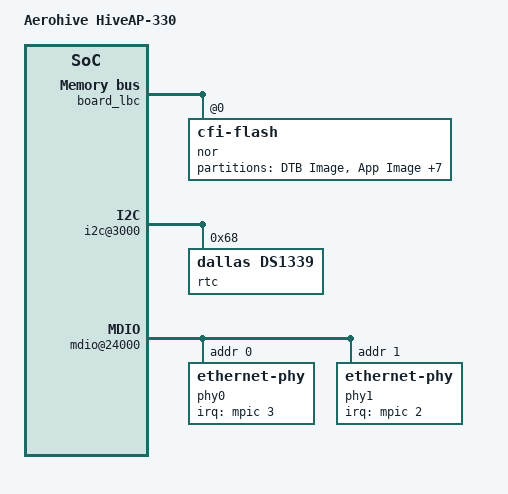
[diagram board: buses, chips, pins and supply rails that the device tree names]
/*
 * Aerohive HiveAP 330 Device Tree Source
 *
 * Copyright (C) 2017 Chris Blake <chrisrblake93@gmail.com>
 *
 * This program is free software; you can redistribute  it and/or modify it
 * under  the terms of  the GNU General  Public License as published by the
 * Free Software Foundation;  either version 2 of the  License, or (at your
 * option) any later version.
 */

/include/ "p1020si-pre.dtsi"
/ {
	model = "Aerohive HiveAP-330";
	compatible = "aerohive,hiveap330", "fsl,P1020RDB";

	memory {
		device_type = "memory";
	};

	board_lbc: lbc: localbus@ffe05000 {
		reg = <0 0xffe05000 0 0x1000>;
		ranges = <0x0 0x0 0x0 0xec000000 0x4000000>;
	};

	board_soc: soc: soc@ffe00000 {
		ranges = <0x0 0x0 0xffe00000 0x100000>;
	};

	pci0: pcie@ffe09000 {
		reg = <0 0xffe09000 0 0x1000>;
		ranges = <0x2000000 0x0 0xa0000000 0 0xa0000000 0x0 0x20000000
			  0x1000000 0x0 0x00000000 0 0xffc10000 0x0 0x10000>;
		pcie@0 {
			ranges = <0x2000000 0x0 0xa0000000
				  0x2000000 0x0 0xa0000000
				  0x0 0x20000000

				  0x1000000 0x0 0x0
				  0x1000000 0x0 0x0
				  0x0 0x100000>;
		};
	};

	pci1: pcie@ffe0a000 {
		reg = <0 0xffe0a000 0 0x1000>;
		ranges = <0x2000000 0x0 0x80000000 0 0x80000000 0x0 0x20000000
			  0x1000000 0x0 0x00000000 0 0xffc20000 0x0 0x10000>;
		pcie@0 {
			ranges = <0x2000000 0x0 0x80000000
				  0x2000000 0x0 0x80000000
				  0x0 0x20000000

				  0x1000000 0x0 0x0
				  0x1000000 0x0 0x0
				  0x0 0x100000>;
		};
	};
};

&board_lbc {
	nor@0,0 {
		#address-cells = <1>;
		#size-cells = <1>;
		compatible = "cfi-flash";
		reg = <0x0 0x0 0x4000000>;
		bank-width = <2>;
		device-width = <1>;

		partition@0 {
			reg = <0x0 0x40000>;
			label = "DTB Image";
		};

		partition@40000 {
			reg = <0x40000 0x2800000>;
			label = "App Image";
		};

		partition@2840000 {
			reg = <0x2840000 0x800000>;
			label = "Kernel Image";
		};

		partition@3040000 {
			reg = <0x3040000 0xec0000>;
			label = "JFFS2";
		};

		partition@3f00000 {
			reg = <0x3f00000 0x20000>;
			label = "Hardware Info";
		};

		partition@3f20000 {
			reg = <0x3f20000 0x20000>;
			label = "Static Boot Info";
			read-only;
		};

		partition@3f40000 {
			reg = <0x3f40000 0x20000>;
			label = "Static Boot Info Backup";
			read-only;
		};

		partition@3f60000 {
			reg = <0x3f60000 0x20000>;
			label = "Uboot Env";
		};

		partition@3f80000 {
			reg = <0x3f80000 0x80000>;
			label = "Uboot";
			read-only;
		};
	};
};

&board_soc {
	i2c@3000 {
		rtc@68 {
			compatible = "dallas,ds1339";
			reg = <0x68>;
		};
	};

	usb@22000 {
		phy_type = "ulpi";
		dr_mode = "host";
	};

	usb@23000 {
		status = "disabled";
	};

	mdio@24000 {
		phy0: ethernet-phy@0 {
			interrupt-parent = <&mpic>;
			interrupts = <3 1>;
			reg = <0x0>;
			linux,phandle = <0x3>;
		};

		phy1: ethernet-phy@1 {
			interrupt-parent = <&mpic>;
			interrupts = <2 1>;
			reg = <0x1>;
			linux,phandle = <0x4>;
		};
	};

	mdio@25000 {
		status = "disabled";
	};

	mdio@26000 {
		status = "disabled";
	};

	enet0: ethernet@b0000 {
		phy-handle =  <0x3>;
		phy-connection-type = "rgmii-id";

	};

	enet1: ethernet@b1000 {
		status = "disabled";
	};

	enet2: ethernet@b2000 {
		phy-handle =  <0x4>;
		phy-connection-type = "rgmii-id";
	};
};

/include/ "p1020si-post.dtsi"
